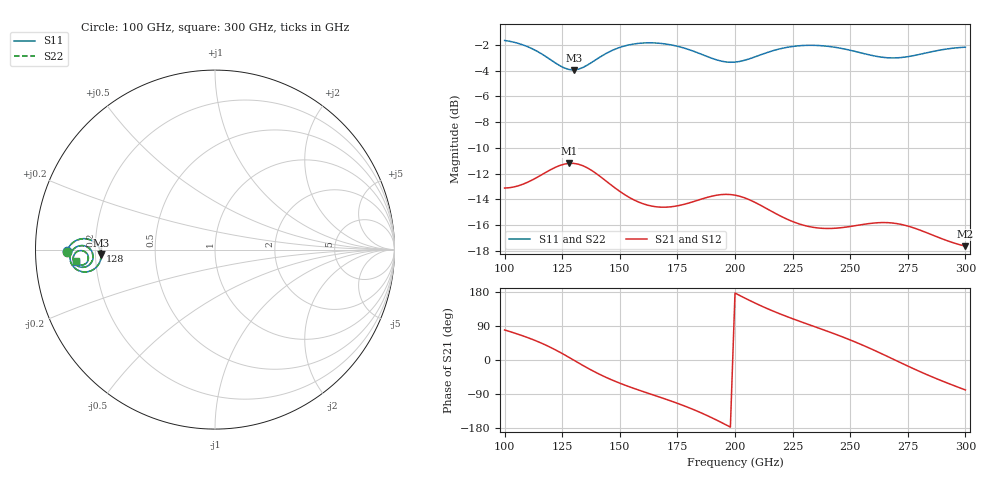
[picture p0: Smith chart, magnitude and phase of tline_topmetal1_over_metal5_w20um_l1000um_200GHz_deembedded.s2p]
! Created with skrf 2.2.0 (http://scikit-rf.org).
# GHz S DB R 50.0
! Port[1] = P1
! Port[2] = P2
!freq dBS11 angS11 dBS21 angS21 dBS12 angS12 dBS22 angS22
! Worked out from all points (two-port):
!   101 points, 100 GHz to 300 GHz, reference 50 ohm
!   highest |S21| = -11.20 dB at 128 GHz (marker M1); lowest = -17.6 dB at 300 GHz (marker M2)
!   |S21| within 3 dB of the highest: start of sweep to 158.1 GHz; 181.4 GHz to 208.3 GHz (26.91 GHz wide, 13.8 % of centre)
!   lowest |S11| = -3.9 dB at 130 GHz (marker M3), VSWR 4.47, Z = 11.2 - j1.2 ohm
!   |S11| at or under -10 dB: nowhere
!   |S22| runs from -3.9 to -1.7 dB; largest |S21 - S12| = 2.8e-14
!   S11 on the Smith chart (normalised r, x): 100 GHz: 0.10, -0.01; 128 GHz: 0.22, -0.01; 300 GHz: 0.13, -0.04
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100  -1.66 -179.3  -13.12 79.3  -13.12 79.3  -1.66 -179.2
108  -2.01 177.2  -12.82 63.5  -12.82 63.5  -2.01 177.3
116  -2.70 175.2  -12.10 44.4  -12.10 44.4  -2.69 175.3
122  -3.40 176.2  -11.52 26.9  -11.52 26.9  -3.40 176.3
128  -3.92 -179.2  -11.20 6.7  -11.20 6.7  -3.91 -179.1
130  -3.95 -177.1  -11.21 -0.3  -11.21 -0.3  -3.94 -177.0
134  -3.76 -173.3  -11.39 -14.4  -11.39 -14.4  -3.74 -173.2
140  -3.11 -170.3  -12.03 -34.1  -12.03 -34.1  -3.10 -170.3
146  -2.49 -170.6  -12.85 -51.2  -12.85 -51.2  -2.48 -170.5
156  -1.94 -173.8  -14.03 -74.7  -14.03 -74.7  -1.93 -173.8
168  -1.89 -178.3  -14.61 -99.4  -14.61 -99.4  -1.89 -178.3
184  -2.63 178.2  -14.06 -136.0  -14.06 -136.0  -2.62 178.3
192  -3.17 179.8  -13.68 -158.6  -13.68 -158.6  -3.15 179.9
200  -3.34 -176.1  -13.67 176.7  -13.67 176.7  -3.32 -176.0
208  -2.98 -172.8  -14.17 152.3  -14.17 152.3  -2.96 -172.8
214  -2.60 -172.3  -14.74 135.7  -14.74 135.7  -2.58 -172.4
224  -2.15 -174.0  -15.65 111.2  -15.65 111.2  -2.14 -174.0
234  -2.04 -176.5  -16.17 89.2  -16.17 89.2  -2.03 -176.6
252  -2.51 -179.6  -16.05 47.9  -16.05 47.9  -2.49 -179.6
268  -3.02 -176.6  -15.83 4.1  -15.83 4.1  -3.00 -176.6
284  -2.59 -173.3  -16.65 -40.5  -16.65 -40.5  -2.57 -173.4
300  -2.18 -175.1  -17.63 -79.0  -17.63 -79.0  -2.17 -175.2
